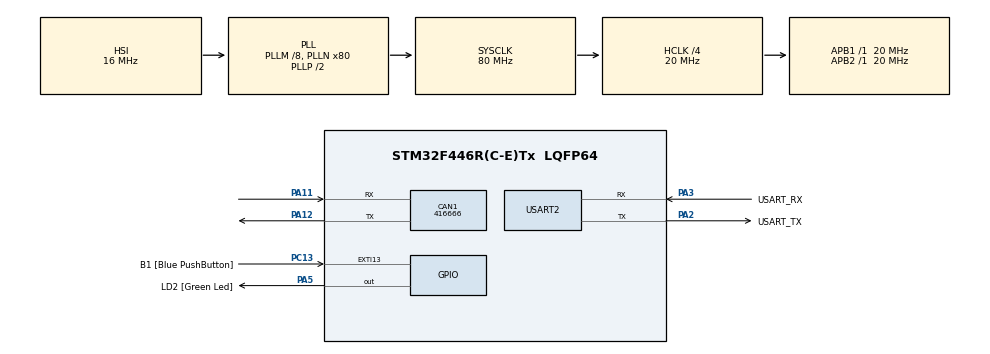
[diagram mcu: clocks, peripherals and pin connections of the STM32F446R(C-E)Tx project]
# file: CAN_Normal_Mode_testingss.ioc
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CAN1.BS1=CAN_BS1_1TQ
CAN1.BS2=CAN_BS2_1TQ
CAN1.CalculateBaudRate=416666
CAN1.CalculateTimeBit=2400
CAN1.CalculateTimeQuantum=800.0
Mcu.Family=STM32F4
Mcu.Name=STM32F446R(C-E)Tx
Mcu.Package=LQFP64
NVIC.EXTI15_10_IRQn=true\:0\:0\:false\:false\:true\:true\:true\:true
NVIC.PriorityGroup=NVIC_PRIORITYGROUP_0
NVIC.TIM6_DAC_IRQn=true\:0\:0\:false\:false\:true\:true\:true\:true
NVIC.TIM8_UP_TIM13_IRQn=true\:0\:0\:false\:false\:true\:true\:true\:true
PA11.Mode=CAN_Activate
PA11.Signal=CAN1_RX
PA12.Mode=CAN_Activate
PA12.Signal=CAN1_TX
PA13.GPIO_Label=TMS
PA13.Mode=JTAG_5_pins
PA13.Signal=SYS_JTMS-SWDIO
PA14.GPIO_Label=TCK
PA14.Mode=JTAG_5_pins
PA14.Signal=SYS_JTCK-SWCLK
PA15.Mode=JTAG_5_pins
PA15.Signal=SYS_JTDI
PA2.GPIO_Label=USART_TX
PA2.Mode=Asynchronous
PA2.Signal=USART2_TX
PA3.GPIO_Label=USART_RX
PA3.Mode=Asynchronous
PA3.Signal=USART2_RX
PA5.GPIO_Label=LD2 [Green Led]
PA5.Signal=GPIO_Output
PB3.GPIO_Label=SWO
PB3.Mode=JTAG_5_pins
PB3.Signal=SYS_JTDO-SWO
PB4.Mode=JTAG_5_pins
PB4.Signal=SYS_JTRST
PC13.GPIO_Label=B1 [Blue PushButton]
PC13.GPIO_ModeDefaultEXTI=GPIO_MODE_IT_FALLING
PC13.GPIO_PuPd=GPIO_PULLUP
PC13.Signal=GPXTI13
PC14-OSC32_IN.Mode=LSE-External-Oscillator
PC14-OSC32_IN.Signal=RCC_OSC32_IN
PC15-OSC32_OUT.Mode=LSE-External-Oscillator
PC15-OSC32_OUT.Signal=RCC_OSC32_OUT
PH0-OSC_IN.Mode=HSE-External-Oscillator
PH0-OSC_IN.Signal=RCC_OSC_IN
PH1-OSC_OUT.Mode=HSE-External-Oscillator
PH1-OSC_OUT.Signal=RCC_OSC_OUT
ProjectManager.HeapSize=0x200
ProjectManager.StackSize=0x400
ProjectManager.TargetToolchain=STM32CubeIDE
RCC.48MHZClocksFreq_Value=84000000
RCC.AHBCLKDivider=RCC_SYSCLK_DIV4
RCC.AHBFreq_Value=20000000
RCC.APB1Freq_Value=20000000
RCC.APB1TimFreq_Value=20000000
RCC.APB2Freq_Value=20000000
RCC.APB2TimFreq_Value=20000000
RCC.CortexFreq_Value=20000000
RCC.FLatency-AdvancedSettings=FLASH_LATENCY_0
RCC.HCLKFreq_Value=20000000
RCC.HSE_VALUE=8000000
RCC.HSI_VALUE=16000000
RCC.PLLM=8
RCC.PLLN=80
RCC.SYSCLKFreq_VALUE=80000000
RCC.SYSCLKSource=RCC_SYSCLKSOURCE_PLLCLK
RCC.USBFreq_Value=80000000
RCC.VCOOutputFreq_Value=160000000
TIM13.AutoReloadPreload=TIM_AUTORELOAD_PRELOAD_ENABLE
TIM13.Prescaler=20-1
TIM6.AutoReloadPreload=TIM_AUTORELOAD_PRELOAD_ENABLE
TIM6.Period=20
TIM6.Prescaler=20000-1
USART2.VirtualMode=VM_ASYNC
VP_TIM13_VS_ClockSourceINT.Mode=Enable_Timer
VP_TIM6_VS_ClockSourceINT.Mode=Enable_Timer
board=NUCLEO-F446RE

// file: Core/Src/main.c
/* USER CODE BEGIN Header */
/**
  ******************************************************************************
  * @file           : main.c
  * @brief          : Main program body
  ******************************************************************************
  * @attention
  *
  * Copyright (c) 2023 STMicroelectronics.
  * All rights reserved.
  *
  * This software is licensed under terms that can be found in the LICENSE file
  * in the root directory of this software component.
  * If no LICENSE file comes with this software, it is provided AS-IS.
  *
  ******************************************************************************
  */
/* USER CODE END Header */
#include "main.h"

/* USER CODE BEGIN Includes */
#include <stdio.h>
#include <string.h>
/* USER CODE END Includes */

CAN_HandleTypeDef hcan1;

TIM_HandleTypeDef htim6;
TIM_HandleTypeDef htim13;

UART_HandleTypeDef huart2;

/* USER CODE BEGIN PV */
CAN_HandleTypeDef hcan1;
uint8_t led_no=0;
/* USER CODE END PV */

void SystemClock_Config(void);
static void MX_GPIO_Init(void);
static void MX_USART2_UART_Init(void);
static void MX_CAN1_Init(void);
static void MX_TIM6_Init(void);
static void MX_TIM13_Init(void);
/* USER CODE BEGIN PFP */
static void CAN1_Init(void);
void CAN_Filter_config(void); //to configure acceptance filters of Rx

/* USER CODE END PFP */

int main(void)
{

  /* MCU Configuration--------------------------------------------------------*/

  /* Reset of all peripherals, Initializes the Flash interface and the Systick. */
  HAL_Init();

  /* Configure the system clock */
  SystemClock_Config();

  /* Initialize all configured peripherals */
  MX_GPIO_Init();
  MX_USART2_UART_Init();
  MX_CAN1_Init();
  MX_TIM6_Init();
  MX_TIM13_Init();
  /* USER CODE BEGIN 2 */
  CAN1_Init();

  /* to receive the CAN msg need to setup acceptance filters */
  CAN_Filter_config();

/*
 * Activating Interrupts
 */

if(  HAL_CAN_ActivateNotification(&hcan1, CAN_IT_TX_MAILBOX_EMPTY |  CAN_IT_RX_FIFO0_MSG_PENDING | CAN_IT_BUSOFF ) != HAL_OK){

	Error_Handler();
}

/* changing the CAN mode to running mode from initialization mode */
  if( HAL_CAN_Start(&hcan1)!= HAL_OK){
	  Error_Handler();
  }

/* starting debug timer (TIM13) */
HAL_TIM_Base_Start_IT(&htim13);
//  HAL_TIM_Base_Start_IT(&htim6); // done in push button EXTI
//  CAN1_RX();
  /* USER CODE END 2 */

  /* Infinite loop */
  while (1)
  {

  }
}

void SystemClock_Config(void)
{
  RCC_OscInitTypeDef RCC_OscInitStruct = {0};
  RCC_ClkInitTypeDef RCC_ClkInitStruct = {0};

  /** Configure the main internal regulator output voltage
  */
  __HAL_RCC_PWR_CLK_ENABLE();
  __HAL_PWR_VOLTAGESCALING_CONFIG(PWR_REGULATOR_VOLTAGE_SCALE3);

  /** Initializes the RCC Oscillators according to the specified parameters
  * in the RCC_OscInitTypeDef structure.
  */
  RCC_OscInitStruct.OscillatorType = RCC_OSCILLATORTYPE_HSI;
  RCC_OscInitStruct.HSIState = RCC_HSI_ON;
  RCC_OscInitStruct.HSICalibrationValue = RCC_HSICALIBRATION_DEFAULT;
  RCC_OscInitStruct.PLL.PLLState = RCC_PLL_ON;
  RCC_OscInitStruct.PLL.PLLSource = RCC_PLLSOURCE_HSI;
  RCC_OscInitStruct.PLL.PLLM = 8;
  RCC_OscInitStruct.PLL.PLLN = 80;
  RCC_OscInitStruct.PLL.PLLP = RCC_PLLP_DIV2;
  RCC_OscInitStruct.PLL.PLLQ = 2;
  RCC_OscInitStruct.PLL.PLLR = 2;
  if (HAL_RCC_OscConfig(&RCC_OscInitStruct) != HAL_OK)
  {
    Error_Handler();
  }

  /** Initializes the CPU, AHB and APB buses clocks
  */
  RCC_ClkInitStruct.ClockType = RCC_CLOCKTYPE_HCLK|RCC_CLOCKTYPE_SYSCLK
                              |RCC_CLOCKTYPE_PCLK1|RCC_CLOCKTYPE_PCLK2;
  RCC_ClkInitStruct.SYSCLKSource = RCC_SYSCLKSOURCE_PLLCLK;
  RCC_ClkInitStruct.AHBCLKDivider = RCC_SYSCLK_DIV4;
  RCC_ClkInitStruct.APB1CLKDivider = RCC_HCLK_DIV1;
  RCC_ClkInitStruct.APB2CLKDivider = RCC_HCLK_DIV1;

  if (HAL_RCC_ClockConfig(&RCC_ClkInitStruct, FLASH_LATENCY_0) != HAL_OK)
  {
    Error_Handler();
  }
}

static void MX_CAN1_Init(void)
{

  hcan1.Instance = CAN1;
  hcan1.Init.Prescaler = 16;
  hcan1.Init.Mode = CAN_MODE_NORMAL;
  hcan1.Init.SyncJumpWidth = CAN_SJW_1TQ;
  hcan1.Init.TimeSeg1 = CAN_BS1_1TQ;
  hcan1.Init.TimeSeg2 = CAN_BS2_1TQ;
  hcan1.Init.TimeTriggeredMode = DISABLE;
  hcan1.Init.AutoBusOff = DISABLE;
  hcan1.Init.AutoWakeUp = DISABLE;
  hcan1.Init.AutoRetransmission = DISABLE;
  hcan1.Init.ReceiveFifoLocked = DISABLE;
  hcan1.Init.TransmitFifoPriority = DISABLE;
  if (HAL_CAN_Init(&hcan1) != HAL_OK)
  {
    Error_Handler();
  }

}

static void MX_TIM6_Init(void)
{

  TIM_MasterConfigTypeDef sMasterConfig = {0};

  htim6.Instance = TIM6;
  htim6.Init.Prescaler = 20000-1;
  htim6.Init.CounterMode = TIM_COUNTERMODE_UP;
  htim6.Init.Period = 20;
  htim6.Init.AutoReloadPreload = TIM_AUTORELOAD_PRELOAD_ENABLE;
  if (HAL_TIM_Base_Init(&htim6) != HAL_OK)
  {
    Error_Handler();
  }
  sMasterConfig.MasterOutputTrigger = TIM_TRGO_RESET;
  sMasterConfig.MasterSlaveMode = TIM_MASTERSLAVEMODE_DISABLE;
  if (HAL_TIMEx_MasterConfigSynchronization(&htim6, &sMasterConfig) != HAL_OK)
  {
    Error_Handler();
  }

}

static void MX_TIM13_Init(void)
{

  htim13.Instance = TIM13;
  htim13.Init.Prescaler = 20-1;
  htim13.Init.CounterMode = TIM_COUNTERMODE_UP;
  htim13.Init.Period = 65535;
  htim13.Init.ClockDivision = TIM_CLOCKDIVISION_DIV1;
  htim13.Init.AutoReloadPreload = TIM_AUTORELOAD_PRELOAD_ENABLE;
  if (HAL_TIM_Base_Init(&htim13) != HAL_OK)
  {
    Error_Handler();
  }

}

static void MX_USART2_UART_Init(void)
{

  huart2.Instance = USART2;
  huart2.Init.BaudRate = 115200;
  huart2.Init.WordLength = UART_WORDLENGTH_8B;
  huart2.Init.StopBits = UART_STOPBITS_1;
  huart2.Init.Parity = UART_PARITY_NONE;
  huart2.Init.Mode = UART_MODE_TX_RX;
  huart2.Init.HwFlowCtl = UART_HWCONTROL_NONE;
  huart2.Init.OverSampling = UART_OVERSAMPLING_16;
  if (HAL_UART_Init(&huart2) != HAL_OK)
  {
    Error_Handler();
  }

}

static void MX_GPIO_Init(void)
{
  GPIO_InitTypeDef GPIO_InitStruct = {0};

  /* GPIO Ports Clock Enable */
  __HAL_RCC_GPIOC_CLK_ENABLE();
  __HAL_RCC_GPIOH_CLK_ENABLE();
  __HAL_RCC_GPIOA_CLK_ENABLE();
  __HAL_RCC_GPIOB_CLK_ENABLE();

  /*Configure GPIO pin Output Level */
  HAL_GPIO_WritePin(LD2_GPIO_Port, LD2_Pin, GPIO_PIN_RESET);

  /*Configure GPIO pin : B1_Pin */
  GPIO_InitStruct.Pin = B1_Pin;
  GPIO_InitStruct.Mode = GPIO_MODE_IT_FALLING;
  GPIO_InitStruct.Pull = GPIO_PULLUP;
  HAL_GPIO_Init(B1_GPIO_Port, &GPIO_InitStruct);

  /*Configure GPIO pin : LD2_Pin */
  GPIO_InitStruct.Pin = LD2_Pin;
  GPIO_InitStruct.Mode = GPIO_MODE_OUTPUT_PP;
  GPIO_InitStruct.Pull = GPIO_NOPULL;
  GPIO_InitStruct.Speed = GPIO_SPEED_FREQ_LOW;
  HAL_GPIO_Init(LD2_GPIO_Port, &GPIO_InitStruct);

  /* EXTI interrupt init*/
  HAL_NVIC_SetPriority(EXTI15_10_IRQn, 0, 0);
  HAL_NVIC_EnableIRQ(EXTI15_10_IRQn);

}

/* USER CODE BEGIN 4 */
static void CAN1_Init(void){
	hcan1.Instance = CAN1;
	hcan1.Init.Mode = CAN_MODE_NORMAL;
	hcan1.Init.AutoBusOff = DISABLE;
	hcan1.Init.AutoRetransmission = ENABLE;
	hcan1.Init.AutoWakeUp = DISABLE;
	hcan1.Init.ReceiveFifoLocked = DISABLE;
	hcan1.Init.TimeTriggeredMode = DISABLE;
	hcan1.Init.TransmitFifoPriority = DISABLE;

	/* CAN bit timing settings */
	hcan1.Init.Prescaler = 4; //6; // fr
	hcan1.Init.SyncJumpWidth = CAN_SJW_1TQ;
	hcan1.Init.TimeSeg1 = CAN_BS1_8TQ;
	hcan1.Init.TimeSeg2 = CAN_BS2_1TQ;

	if(HAL_CAN_Init(&hcan1)!= HAL_OK){
		Error_Handler();
	}

}

void CAN_Filter_config(void){

	CAN_FilterTypeDef can1_filter_init;

	can1_filter_init.FilterActivation = CAN_FILTER_ENABLE;
	can1_filter_init.FilterBank = 0;
	can1_filter_init.FilterFIFOAssignment = CAN_FILTER_FIFO0;
	can1_filter_init.FilterIdHigh = 0x0000;
	can1_filter_init.FilterIdLow = 0x0000;
	can1_filter_init.FilterMaskIdHigh = 0x0000;
	can1_filter_init.FilterMaskIdLow = 0x0000;
	can1_filter_init.FilterMode = CAN_FILTERMODE_IDMASK;
	can1_filter_init.FilterScale = CAN_FILTERSCALE_32BIT;

	if( HAL_CAN_ConfigFilter(&hcan1, &can1_filter_init)!= HAL_OK){
		Error_Handler();
	}
	return;
}
void CAN1_RX(void){
	CAN_RxHeaderTypeDef RxHeader;

	uint8_t rcvd_msg[5];
	char msg[50];

	/* We are waiting for msg arrival */
	while(!HAL_CAN_GetRxFifoFillLevel(&hcan1, CAN_RX_FIFO0));

	if(HAL_CAN_GetRxMessage(&hcan1, CAN_RX_FIFO0, &RxHeader, rcvd_msg)!= HAL_OK){
		Error_Handler();
	}

	sprintf(msg,"Receieved: %s \r\n",rcvd_msg);
	HAL_UART_Transmit(&huart2, (uint8_t*)msg, strlen(msg),HAL_MAX_DELAY);

}
void CAN1_TX(void){

	CAN_TxHeaderTypeDef TxHeader;

	uint32_t TxMailbox;

	uint8_t Msg[5]= "HELLO";

	TxHeader.DLC = 5; // 'Hello'
	TxHeader.StdId = 0x65D;
	TxHeader.IDE = CAN_ID_STD;
	TxHeader.RTR = CAN_RTR_DATA;

	if( HAL_CAN_AddTxMessage(&hcan1, &TxHeader, Msg, &TxMailbox)!= HAL_OK){
		Error_Handler();
	}

}
void CAN_MSG_TX(void){

	CAN_TxHeaderTypeDef TxHeader;
	uint32_t TxMailbox;

	uint8_t msg;

	TxHeader.DLC = 1; //msg number
	TxHeader.StdId = 0x65D;
	TxHeader.IDE = CAN_ID_STD;
	TxHeader.RTR = CAN_RTR_DATA;

	msg = ++led_no;

	led_no = led_no>3 ? 0:led_no;

	if( HAL_CAN_AddTxMessage(&hcan1, &TxHeader, &msg, &TxMailbox)!= HAL_OK){
			Error_Handler();
		}

}
/* USER CODE END 4 */

void Error_Handler(void)
{
  __disable_irq();
  while (1)
  {
  }
}
